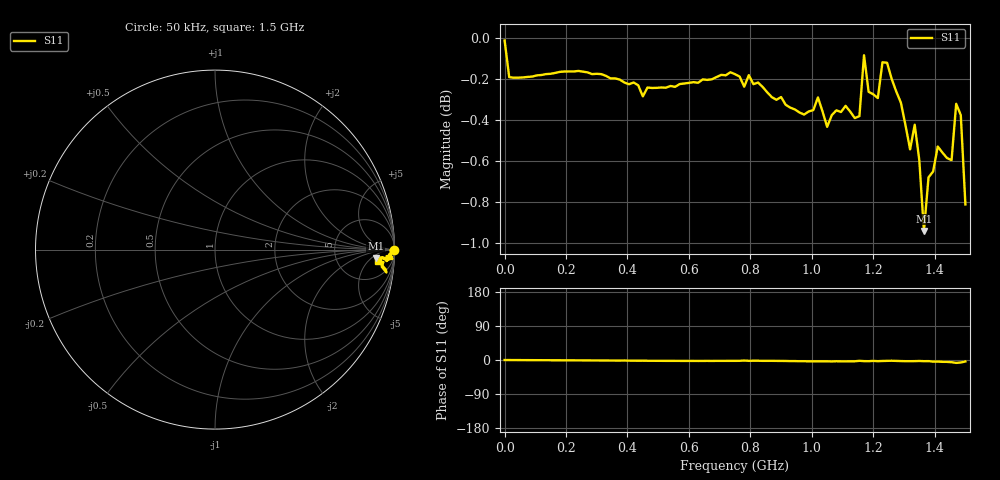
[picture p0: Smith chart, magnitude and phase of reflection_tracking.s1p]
! Created with skrf 1.8.0 (http://scikit-rf.org).
# Hz S RI R 50.0
!freq ReS11 ImS11
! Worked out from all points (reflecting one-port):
!   101 points, 50 kHz to 1.5 GHz, reference 50 ohm
!   lowest |S11| = -0.9 dB at 1.365 GHz (marker M1), VSWR 18.50, Z = 738 - j371 ohm
!   phase of S11 starts at -0 deg and turns -4 deg over the sweep
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50000  0.9984 -0.00142
1.50495e7  0.9781 -0.00224
1.950435e8  0.9812 -0.0136
3.750375e8  0.9765 -0.0264
5.70031e8  0.9735 -0.0403
7.50025e8  0.979 -0.039
7.80024e8  0.9726 -0.0244
7.950235e8  0.9785 -0.0381
9.450185e8  0.9594 -0.048
1.065014e9  0.9554 -0.0639
1.125012e9  0.9578 -0.0566
1.140012e9  0.9543 -0.0567
1.155012e9  0.9564 -0.0361
1.170011e9  0.9889 -0.0518
1.20001e9  0.968 -0.0398
1.21501e9  0.9653 -0.0526
1.245008e9  0.9853 -0.0391
1.320006e9  0.938 -0.0518
1.335006e9  0.9512 -0.0496
1.365004e9  0.8961 -0.0489
1.380004e9  0.9236 -0.0482
1.395004e9  0.9251 -0.0707
1.410003e9  0.9384 -0.0693
1.440002e9  0.9315 -0.08
1.455002e9  0.9288 -0.0956
1.470001e9  0.9552 -0.1274
1.485e9  0.9512 -0.1106
1.5e9  0.9088 -0.0616
